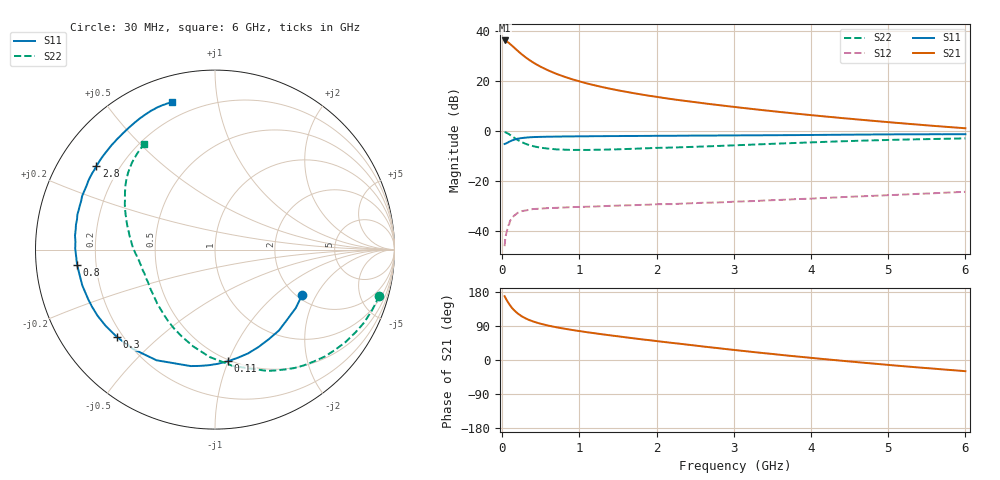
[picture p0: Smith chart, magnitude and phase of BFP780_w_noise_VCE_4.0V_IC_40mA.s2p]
! Infineon Technologies  Discrete & RF Semiconductors
! BFP780
! VCE =  4.0 V,  IC =  40 mA
! Common Emitter S-Parameters:  Jul 2015
# GHz  S  MA  R  50
!  f  S11  S21  S12  S22
! GHz  MAG  ANG  MAG  ANG  MAG  ANG  MAG  ANG
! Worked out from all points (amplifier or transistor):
!   75 points, 30 MHz to 6 GHz, reference 50 ohm
!   highest |S21| = 36.2 dB at 30 MHz (marker M1)
!   |S21| within 3 dB of that: start of sweep to 158.3 MHz
!   unconditionally stable (mu >= 1): 2.072 GHz to end of sweep
!   at 150 MHz: K = 0.13, MSG = 33.8 dB, |S12| = -34.1 dB
!   at 2.3 GHz: K = 1.08, MAG = 19.0 dB, |S12| = -29.2 dB
!   at 6 GHz: K = 1.26, MAG = 9.7 dB, |S12| = -24.4 dB
!   lowest NFmin = 1.24 dB at 450 MHz
!   S11 on the Smith chart (normalised r, x): 30 MHz: 2.13, -1.54; 110 MHz: 0.48, -0.99; 300 MHz: 0.18, -0.37; 800 MHz: 0.13, -0.05; 2.8 GHz: 0.12, +0.31; 6 GHz: 0.12, +0.74
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0.03  0.5472 -27.6  64.82 168.4  0.0049 72.0  0.9505 -15.7
0.05  0.5606 -44.4  62.82 160.6  0.0086 62.1  0.925 -26.1
0.07  0.5824 -59.1  60.09 153.7  0.0113 62.3  0.8912 -35.3
0.09  0.6069 -72.3  56.92 147.3  0.0136 60.0  0.8541 -44.2
0.11  0.6267 -83.6  53.56 141.6  0.0165 52.7  0.8128 -52.6
0.15  0.663 -101.8  47.14 132.0  0.0198 44.9  0.7361 -66.7
0.2  0.6975 -117.9  40.07 122.7  0.0228 37.9  0.6565 -81.2
0.25  0.718 -129.6  34.46 115.6  0.0246 33.3  0.5989 -92.9
0.3  0.7321 -138.4  29.92 110.0  0.0254 30.1  0.5523 -102.8
0.35  0.7429 -145.2  26.34 105.4  0.0263 26.8  0.5186 -110.8
0.4  0.7509 -150.6  23.46 101.7  0.0272 25.0  0.4945 -117.7
0.5  0.7588 -158.8  19.18 95.5  0.0278 21.5  0.4597 -128.6
0.6  0.7659 -164.9  16.15 90.6  0.0284 20.3  0.4403 -137.0
0.8  0.773 -173.8  12.23 82.8  0.0292 18.4  0.4206 -149.2
1.1  0.7789 176.8  8.898 73.3  0.0302 17.6  0.4149 -161.3
1.5  0.787 167.7  6.496 62.5  0.0318 17.7  0.4272 -171.5
2.1  0.7981 156.5  4.549 47.5  0.0341 18.5  0.4588 178.0
2.8  0.8083 144.9  3.29 31.2  0.0369 20.1  0.499 166.4
3.1  0.8132 140.2  2.904 24.4  0.0386 20.2  0.5205 161.5
4.1  0.8301 126.0  2.001 3.7  0.0449 20.5  0.596 147.3
5.1  0.8519 114.6  1.453 -14.7  0.0522 17.7  0.6633 134.9
6  0.8569 106.4  1.128 -29.5  0.0602 13.7  0.7074 124.0
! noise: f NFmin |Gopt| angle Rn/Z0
0.45  1.24  0.39  -178  0.07
0.9  1.28  0.4  -174  0.08
1.5  1.35  0.43  -169  0.07
1.8  1.52  0.45  -159  0.08
2.4  1.67  0.47  -152  0.11
3  1.94  0.49  -149  0.15
3.5  2.45  0.56  -132  0.24
